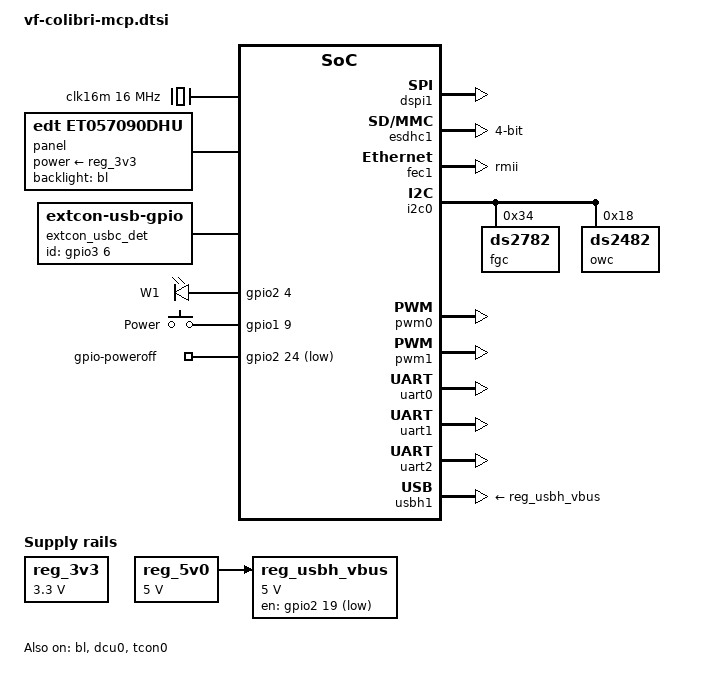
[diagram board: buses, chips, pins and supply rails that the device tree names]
/*
 * Copyright 2016 Alex A. Mihaylov
 * (c) OAO Radioavionica
 *
 * This program is free software; you can redistribute it and/or modify
 * it under the terms of the GNU General Public License as published by
 * the Free Software Foundation; either version 2 of the License, or
 * (at your option) any later version.
 */

#include <dt-bindings/input/input.h>

/ {
	chosen {
		stdout-path = "serial0:115200n8";
	};

	aliases {
		ethernet0 = &fec1;
		ethernet1 = &fec0;
	};

	clk16m: clk16m {
		compatible = "fixed-clock";
		#clock-cells = <0>;
		clock-frequency = <16000000>;
	};

	panel: panel {
		compatible = "edt,et057090dhu";
		backlight = <&bl>;
		power-supply =  <&reg_3v3>;
	};

	extcon_usbc_det: usbc_det {
		compatible = "linux,extcon-usb-gpio";
		debounce = <25>;
		id-gpio = <&gpio3 6 GPIO_ACTIVE_HIGH>;
		pinctrl-names = "default";
		pinctrl-0 = <&pinctrl_usbc_det>;
	};

	reg_3v3: regulator-3v3 {
		compatible = "regulator-fixed";
		regulator-name = "3.3V";
		regulator-min-microvolt = <3300000>;
		regulator-max-microvolt = <3300000>;
		regulator-always-on;
	};

	reg_5v0: regulator-5v0 {
		compatible = "regulator-fixed";
		regulator-name = "5V";
		regulator-min-microvolt = <5000000>;
		regulator-max-microvolt = <5000000>;
		regulator-always-on;
	};

	reg_usbh_vbus: regulator-usbh-vbus {
		compatible = "regulator-fixed";
		pinctrl-names = "default";
		pinctrl-0 = <&pinctrl_usbh1_reg>;
		regulator-name = "VCC_USB[1-4]";
		regulator-min-microvolt = <5000000>;
		regulator-max-microvolt = <5000000>;
		gpio = <&gpio2 19 GPIO_ACTIVE_LOW>; /* USBH_PEN resp. USBH_P_EN */
		vin-supply = <&reg_5v0>;
	};

	gpio-leds {
		compatible = "gpio-leds";
		pinctrl-names = "default";
		pinctrl-0 = <&pinctrl_leds>;

		w1 {
			label = "W1";
			gpios = <&gpio2 4 GPIO_ACTIVE_HIGH>;
			default-state = "on";
		};
	};

	gpio-keys {
		compatible = "gpio-keys";
		pinctrl-names = "default";
		pinctrl-0 = <&pinctrl_keys>;

		power {
			label = "Power";
			gpios = <&gpio1 9 GPIO_ACTIVE_HIGH>;
			linux,code = <KEY_POWER>;
			debounce-interval = <100>;
			gpio-key,wakeup;
		};
	};

	gpio-poweroff {
		pinctrl-names = "default";
		pinctrl-0 = <&pinctrl_power>;
		compatible = "gpio-poweroff";
		gpios = <&gpio2 24 GPIO_ACTIVE_LOW>;
	};
};

&bl {
	brightness-levels = <0 4 8 16 32 64 128 255>;
	default-brightness-level = <6>;
	power-supply =  <&reg_3v3>;
	status  = "okay";
};

&dcu0 {
	pinctrl-names = "default";
	pinctrl-0 = <&pinctrl_dcu0_1>;
	fsl,panel = <&panel>;
	status = "okay";
};

&dspi1 {
	status = "okay";
};

&esdhc1 {
	pinctrl-names = "default";
	pinctrl-0 = <&pinctrl_esdhc1>;
	bus-width = <4>;
	status = "okay";
};

&fec1 {
	phy-mode = "rmii";
	pinctrl-names = "default";
	pinctrl-0 = <&pinctrl_fec1>;
	status = "okay";
};

&i2c0 {
	status = "okay";

	/* DS2782: Fuel Gauge Controller */
	fgc: ds2782@34 {
		compatible = "ds2782";
		reg = <0x34>;
	};

	/* DS2484: I2C to OneWire Converter */
	owc: ds2482@18 {
		compatible = "ds2482";
		reg = <0x18>;
	};
};

&pwm0 {
	status = "okay";
};

&pwm1 {
	status = "okay";
};

&reg_module_3v3 {
	vin-supply = <&reg_3v3>;
};

&tcon0 {
	status = "okay";
};

&uart0 {
	status = "okay";
};

&uart1 {
	status = "okay";
};

&uart2 {
	status = "okay";
};

&usbdev0 {
	extcon = <&extcon_usbc_det>, <&extcon_usbc_det>;
};

&usbh1 {
	vbus-supply = <&reg_usbh_vbus>;
};

/*

*/

&iomuxc {
	vf610-colibri {
		pinctrl_power: power {
			fsl,pins = <
				/* Power kill. SoDIMM 133 */
				VF610_PAD_PTD9__GPIO_88		0x218d
			>;
		}; 

		pinctrl_leds: leds {
			fsl,pins = <
				/* DS2484R SLPZ pin, SoDIMM 127 */
				VF610_PAD_PTD26__GPIO_68	0x1836
			>;
		};

		pinctrl_keys: keys {
			fsl,pins = <
				/* Power Button. SoDIMM 47 */
				VF610_PAD_PTB19__GPIO_41	0x218d
			>;
		};
	};
};
